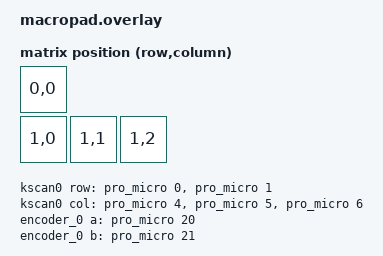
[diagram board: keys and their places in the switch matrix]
#include <dt-bindings/zmk/matrix_transform.h>
#include <zephyr/dt-bindings/gpio/gpio.h>
#include <zephyr/dt-bindings/i2c/i2c.h>

/ {
    chosen {
        zmk,kscan = &kscan0;
        zmk,matrix_transform = &default_transform;
        zephyr,display = &oled;
    };

    kscan0: kscan {
        compatible = "zmk,kscan-gpio-matrix";
        label = "KSCAN";
        diode-direction = "row2col";
        row-gpios
            = <&pro_micro 0 GPIO_ACTIVE_HIGH>
            , <&pro_micro 1 GPIO_ACTIVE_HIGH>
            ;
        col-gpios
            = <&pro_micro 4 (GPIO_ACTIVE_HIGH | GPIO_PULL_DOWN)>   /* Col 0 – D4 */
            , <&pro_micro 5 (GPIO_ACTIVE_HIGH | GPIO_PULL_DOWN)>   /* Col 1 – D5 */
            , <&pro_micro 6 (GPIO_ACTIVE_HIGH | GPIO_PULL_DOWN)>   /* Col 2 – D6 */
            ;
    };

    default_transform: matrix_transform {
        compatible = "zmk,matrix-transform";
        columns = <3>;
        rows    = <2>;
        map = <
            RC(0,0)
            RC(1,0) RC(1,1) RC(1,2)
        >;
    };

    encoder_0: encoder_0 {
        compatible = "alps,ec11";
        label = "ENCODER_0";
        a-gpios = <&pro_micro 20 (GPIO_ACTIVE_HIGH | GPIO_PULL_UP)>;  /* D21 */
        b-gpios = <&pro_micro 21 (GPIO_ACTIVE_HIGH | GPIO_PULL_UP)>;  /* D20 */
        steps = <80>;   /* pulses per revolution – tune to your encoder */
        status = "okay";
    };

    sensors {
        compatible = "zmk,keymap-sensors";
        sensors    = <&encoder_0>;
        triggers-per-rotation = <20>;
    };

};

/* ── I2C OLED display ────────────────────────────────────────────
 *
 *  Uses the nice!nano v2's built-in hardware I2C bus, exposed via
 *  the pro_micro_i2c alias. This bus is physically wired to D2
 *  (SDA) and D3 (SCL) — the same pattern used by every official
 *  ZMK shield with an OLED (lily58, corne, etc).
 */
&pro_micro_i2c {
    status = "okay";

    oled: ssd1306@3c {
        compatible = "solomon,ssd1306fb";
        reg = <0x3c>;
        width = <128>;
        height = <64>;
        segment-offset = <0>;
        page-offset = <0>;
        display-offset = <0>;
        multiplex-ratio = <63>;
        segment-remap;
        com-invdir;
        inversion-on;
        prechargep = <0x22>;
    };
};
